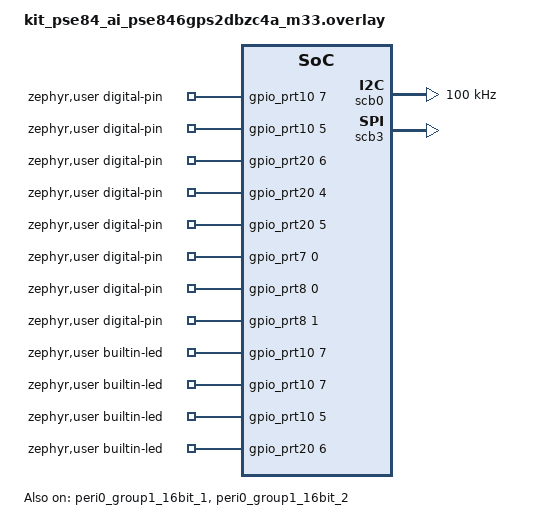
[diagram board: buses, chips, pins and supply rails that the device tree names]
/*
 * Copyright (c) Arduino s.r.l. and/or its affiliated companies
 *
 * SPDX-License-Identifier: Apache-2.0
 *
 * Devicetree overlay for KIT-PSE84-AI (PSoC Edge E84, CM33 secure)
 *
 * Hardware mapping derived from:
 *   - Infineon TARGET_KIT_PSE84_AI BSP (design.modus)
 *   - Zephyr board DTS (kit_pse84_ai_common.dtsi)
 *   - Zephyr SoC DTS (pse84.bga-220.dtsi)
 *
 * Peripherals:
 *   UART  : SCB2  - P6_7(TX) / P6_5(RX)  (console, enabled in board DTS)
 *   I2C   : SCB0  - P8_0(SCL) / P8_1(SDA) (1.8V I2C bus)
 *   SPI   : SCB3  - P21_6(CLK) / P21_5(MOSI) / P21_4(MISO) / P21_7(CS)
 *   LEDs  : P10_7(LED0) P10_5(LED1) P20_6(RED) P20_4(GREEN) P20_5(BLUE)
 *   Button: P7_0 (SW1, active-low, internal pull-up)
 */

/* ------------------------------------------------------------------ */
/* Arduino user sketch partition                                      */
/* Placed at the end of the CM33 secure XIP flash region.             */
/* m33s_xip starts at 0x70100400 with size 0x1FFC00 (~2MB).          */
/* Loader occupies the first portion; user_sketch gets the tail end.  */
/*                                                                    */
/* IMPORTANT: The Loader computes the sketch address as:              */
/*   flash0_base (0x08000000) + partition_reg                         */
/* So partition_reg must be relative to flash0 base.                  */
/* Target XIP address 0x70200000 → offset = 0x70200000 - 0x08000000  */
/*                                        = 0x68200000               */
/* ------------------------------------------------------------------ */
&flash0 {
        partitions {
                compatible = "fixed-partitions";
                #address-cells = <1>;
                #size-cells = <1>;

                user_sketch: partition@68200000 {
                        reg = <0x68200000 DT_SIZE_K(1023)>;
                };
        };
};

/* ------------------------------------------------------------------ */
/* Enable GPIO ports needed for digital pins, LEDs, button, SPI, I2C */
/* ------------------------------------------------------------------ */
&gpio_prt8 {
	status = "okay";
};

&gpio_prt21 {
	status = "okay";
};

/* ------------------------------------------------------------------ */
/* I2C bus - SCB0 on P8_0(SCL) / P8_1(SDA)                           */
/* ------------------------------------------------------------------ */
i2c0: &scb0 {
	compatible = "infineon,i2c";
	status = "okay";
	#address-cells = <1>;
	#size-cells = <0>;
	clock-frequency = <100000>;

	clocks = <&peri0_group1_16bit_1>;

	pinctrl-0 = <&p8_0_scb0_i2c_scl &p8_1_scb0_i2c_sda>;
	pinctrl-names = "default";
};

&peri0_group1_16bit_1 {
	status = "okay";
	clock-div = <1>;
};

&p8_0_scb0_i2c_scl {
	drive-open-drain;
	input-enable;
};

&p8_1_scb0_i2c_sda {
	drive-open-drain;
	input-enable;
};

/* ------------------------------------------------------------------ */
/* SPI bus - SCB3 on P21_6(CLK) / P21_5(MOSI) / P21_4(MISO)         */
/*           CS on P21_7 (directly driven as GPIO)                    */
/* ------------------------------------------------------------------ */
spi0: &scb3 {
	#address-cells = <1>;
	#size-cells = <0>;
	compatible = "infineon,spi";
	status = "okay";

	clocks = <&peri0_group1_16bit_2>;

	pinctrl-0 = <&p21_5_scb3_spi_m_mosi &p21_4_scb3_spi_m_miso
		     &p21_6_scb3_spi_m_clk>;
	pinctrl-names = "default";
	cs-gpios = <&gpio_prt21 7 GPIO_ACTIVE_LOW>;
};

&peri0_group1_16bit_2 {
	status = "okay";
	clock-div = <1>;
};

&p21_5_scb3_spi_m_mosi {
	drive-strength = "full";
	drive-push-pull;
};

&p21_4_scb3_spi_m_miso {
	drive-strength = "full";
	input-enable;
};

&p21_6_scb3_spi_m_clk {
	drive-strength = "full";
	drive-push-pull;
};

/* ------------------------------------------------------------------ */
/* Arduino 'zephyr,user' node                                         */
/*                                                                    */
/* Digital pin mapping:                                                */
/*   D0  = P10_7  (LED_0 / USER_LED1)                                */
/*   D1  = P10_5  (LED_1 / USER_LED2)                                */
/*   D2  = P20_6  (LED_RGB_RED)                                      */
/*   D3  = P20_4  (LED_RGB_GREEN)                                    */
/*   D4  = P20_5  (LED_RGB_BLUE)                                     */
/*   D5  = P7_0   (SW1 / USER_BTN)                                   */
/*   D6  = P8_0   (I2C_SCL)                                          */
/*   D7  = P8_1   (I2C_SDA)                                          */
/*   D8  = P21_6  (SPI_CLK)                                          */
/*   D9  = P21_5  (SPI_MOSI)                                         */
/*   D10 = P21_4  (SPI_MISO)                                         */
/*   D11 = P21_7  (SPI_CS)                                           */
/* ------------------------------------------------------------------ */
/ {
	zephyr,user {
		digital-pin-gpios = <&gpio_prt10 7 0>,  /* D0  - LED_0       */
				    <&gpio_prt10 5 0>,  /* D1  - LED_1       */
				    <&gpio_prt20 6 0>,  /* D2  - LED_RGB_RED */
				    <&gpio_prt20 4 0>,  /* D3  - LED_RGB_GRN */
				    <&gpio_prt20 5 0>,  /* D4  - LED_RGB_BLU */
				    <&gpio_prt7  0 0>,  /* D5  - SW1 / BTN   */
				    <&gpio_prt8  0 0>,  /* D6  - I2C_SCL     */
				    <&gpio_prt8  1 0>,  /* D7  - I2C_SDA     */
				    <&gpio_prt21 6 0>,  /* D8  - SPI_CLK     */
				    <&gpio_prt21 5 0>,  /* D9  - SPI_MOSI    */
				    <&gpio_prt21 4 0>,  /* D10 - SPI_MISO    */
				    <&gpio_prt21 7 0>;  /* D11 - SPI_CS      */

		builtin-led-gpios = <&gpio_prt10 7 GPIO_ACTIVE_HIGH>,  /* LED_0 (default) */
				    <&gpio_prt10 7 GPIO_ACTIVE_HIGH>,  /* LED_0            */
				    <&gpio_prt10 5 GPIO_ACTIVE_HIGH>,  /* LED_1            */
				    <&gpio_prt20 6 GPIO_ACTIVE_HIGH>;  /* LED_RGB_RED      */

		serials = <&uart2>;
		i2cs = <&i2c0>;
		spis = <&spi0>;
	};
};
